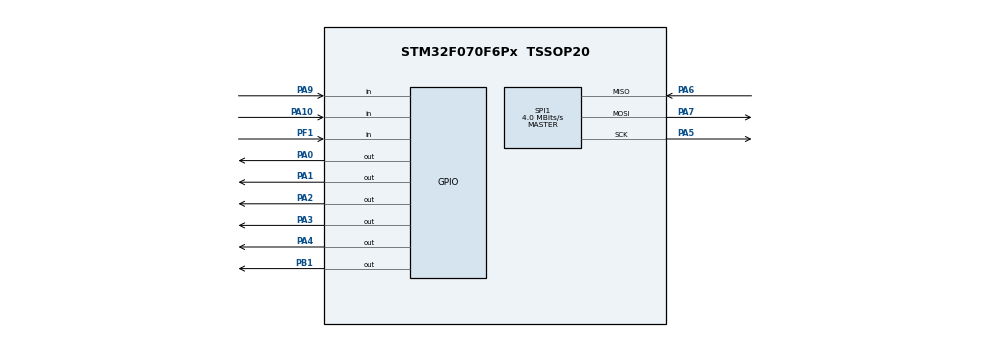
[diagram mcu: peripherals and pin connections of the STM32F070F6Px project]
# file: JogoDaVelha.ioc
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Mcu.Family=STM32F0
Mcu.Name=STM32F070F6Px
Mcu.Package=TSSOP20
PA0.Signal=GPIO_Output
PA1.Signal=GPIO_Output
PA10.GPIO_PuPd=GPIO_PULLDOWN
PA10.Signal=GPIO_Input
PA13.Mode=Serial_Wire
PA13.Signal=SYS_SWDIO
PA14.Mode=Serial_Wire
PA14.Signal=SYS_SWCLK
PA2.Signal=GPIO_Output
PA3.GPIO_PuPd=GPIO_NOPULL
PA3.Signal=GPIO_Output
PA4.GPIO_PuPd=GPIO_NOPULL
PA4.Signal=GPIO_Output
PA5.Mode=Full_Duplex_Master
PA5.Signal=SPI1_SCK
PA6.Mode=Full_Duplex_Master
PA6.Signal=SPI1_MISO
PA7.Mode=Full_Duplex_Master
PA7.Signal=SPI1_MOSI
PA9.GPIO_PuPd=GPIO_PULLDOWN
PA9.Signal=GPIO_Input
PB1.Signal=GPIO_Output
PF1-OSC_OUT.GPIO_PuPd=GPIO_PULLDOWN
PF1-OSC_OUT.Signal=GPIO_Input
ProjectManager.HeapSize=0x200
ProjectManager.StackSize=0x400
ProjectManager.TargetToolchain=STM32CubeIDE
SPI1.CLKPhase=SPI_PHASE_2EDGE
SPI1.CLKPolarity=SPI_POLARITY_HIGH
SPI1.CalculateBaudRate=4.0 MBits/s
SPI1.DataSize=SPI_DATASIZE_8BIT
SPI1.Direction=SPI_DIRECTION_2LINES
SPI1.Mode=SPI_MODE_MASTER
SPI1.VirtualType=VM_MASTER
board=custom

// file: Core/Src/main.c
/* USER CODE BEGIN Header */
/**
  ******************************************************************************
  * @file           : main.c
  * @brief          : Main program body
  ******************************************************************************
  * @attention
  *
  * Copyright (c) 2022 STMicroelectronics.
  * All rights reserved.
  *
  * This software is licensed under terms that can be found in the LICENSE file
  * in the root directory of this software component.
  * If no LICENSE file comes with this software, it is provided AS-IS.
  *
  ******************************************************************************
  */
/* USER CODE END Header */
#include "main.h"

/* USER CODE BEGIN Includes */
#include "OledGrph.h"
#include "OledDriver.h"
#include <stdio.h>
#include <math.h>
/* USER CODE END Includes */

SPI_HandleTypeDef hspi1;

void SystemClock_Config(void);
static void MX_GPIO_Init(void);
static void MX_SPI1_Init(void);

int main(void)
{
  /* USER CODE BEGIN 1 */
	// reverses a string 'str' of length 'len'
	void reverse(char *str, int len)
	{
		int i=0, j=len-1, temp;
		while (i<j)
		{
			temp = str[i];
			str[i] = str[j];
			str[j] = temp;
			i++; j--;
		}
	}

	 // Converts a given integer x to string str[].  d is the number
	 // of digits required in output. If d is more than the number
	 // of digits in x, then 0s are added at the beginning.
	int intToStr(int x, char str[], int d)
	{
		int i = 0;
		while (x)
		{
			str[i++] = (x%10) + '0';
			x = x/10;
		}

		// If number of digits required is more, then
		// add 0s at the beginning
		while (i < d)
			str[i++] = '0';

		reverse(str, i);
		str[i] = '\0';
		return i;
	}

  /* USER CODE END 1 */

  /* MCU Configuration--------------------------------------------------------*/

  /* Reset of all peripherals, Initializes the Flash interface and the Systick. */
  HAL_Init();

  /* Configure the system clock */
  SystemClock_Config();

  /* Initialize all configured peripherals */
  MX_GPIO_Init();
  MX_SPI1_Init();
  /* USER CODE BEGIN 2 */
  	float PX = 0;
	float PO = 0;
	int turn = 1; // Turn 1 representa vez do PX = X | Turn 2 representa vez do PO = O

	char board[3][3];

	void renderBoard(){
		for(int i=0; i < 3; i++){
			OledSetCursor(2,i+1);
			for(int j=0; j < 3; j++){
				if(board[i][j] == ' ' && i != 2) OledPutChar('_');
				else if(board[i][j] == ' ' && i == 2) OledPutChar(' ');
				else OledPutChar(board[i][j]);

				if(j != 2) OledPutString("|");
			}
		}
	}

	void renderScoreBoard(){
		// Placar Inicial
		OledSetCursor(8, 0);
		OledPutChar('|');
		OledSetCursor(8, 1);
		OledPutChar('|');
		OledSetCursor(8, 2);
		OledPutChar('|');
		OledSetCursor(8, 3);
		OledPutChar('|');

		OledSetCursor(10, 0);
		char text[5] = {' ','P','X',':'};
		char number[1];

		if(turn == 1){
			text[0] = '>';
		}
		intToStr(PX, number, 1);
		text[4] = number[0];
		OledPutString(text);

		OledSetCursor(10, 2);
		char text2[5] = {' ','P','O',':'};
		char number2[1];
		if(turn == 2){
			text2[0] = '>';
		}
		intToStr(PO, number2, 1);
		text2[4] = number2[0];
		OledPutString(text2);
	}

	void startGame(){
		// Placar
		renderScoreBoard();

		// Tabuleiro inicial
		for(int i=0; i < 3; i++){
			for(int j=0; j < 3; j++){
				board[i][j] = ' ';
			}
		}
		renderBoard();
	}

	void mensagemVencedor(char v) {
		OledClear();

		if(v != ' '){
			char text[11] = {"P  VENCEU!!"};
			OledSetCursor(3, 1);
			text[1] = v;
			OledPutString(text);
			HAL_Delay(3000);
		}else{
			char text[8] = {"EMPATE!!"};
			OledSetCursor(5, 1);
			OledPutString(text);
			HAL_Delay(3000);
		}

		OledClear();
	}

	void verificarVitoria(){
		for(int i=0; i<3; i++){
			if(board[i][0] == board[i][1] && board[i][1] == board[i][2] && board[i][0] != ' '){
				if(board[i][0] == 'X'){
					PX++;
				}else{
					PO++;
				}
				mensagemVencedor(board[i][0]);
				startGame();
			}else if(board[0][i] == board[1][i] && board[1][i] == board[2][i] && board[0][i] != ' '){
				if(board[0][i] == 'X'){
					PX++;
				}else{
					PO++;
				}
				mensagemVencedor(board[0][i]);
				startGame();
			}else if(board[0][0] == board[1][1] && board[1][1] == board[2][2] && board[0][0] != ' '){
				if(board[0][0] == 'X'){
					PX++;
				}else{
					PO++;
				}
				mensagemVencedor(board[0][0]);
				startGame();
			}else if(board[0][2] == board[1][1] && board[1][1] == board[2][0] && board[0][2] != ' '){
				if(board[0][2] == 'X'){
					PX++;
				}else{
					PO++;
				}
				mensagemVencedor(board[0][2]);
				startGame();
			}
		}

		int aux = 0;
		for(int i=0; i<3; i++){
			for(int j=0; j<3; j++){
				if(board[i][j] != ' '){
					aux++;
				}
			}
		}

		if(aux == 9){
			mensagemVencedor(' ');
			startGame();
		}
	}
  /* USER CODE END 2 */

  /* Infinite loop */
  /* USER CODE BEGIN WHILE */
  OledInit(); // Inicializa o oLed
  OledClear(); //- Apaga todos os dados  do oLed
  startGame();
  while (1)
  {
	  for (int i = 0; i < 3; i++) {
		// Reseta todos os pinos da linha do teclado
		HAL_GPIO_WritePin(GPIOA, GPIO_PIN_3, GPIO_PIN_RESET);
		HAL_GPIO_WritePin(GPIOA, GPIO_PIN_4, GPIO_PIN_RESET);
		HAL_GPIO_WritePin(GPIOB, GPIO_PIN_1, GPIO_PIN_RESET);

		// Define a linha que estamos realizando a varredura
		int row = i;
		if (row == 0) HAL_GPIO_WritePin(GPIOA, GPIO_PIN_3, GPIO_PIN_SET);
		else if (row == 1) HAL_GPIO_WritePin(GPIOA, GPIO_PIN_4, GPIO_PIN_SET);
		else if (row == 2) HAL_GPIO_WritePin(GPIOB, GPIO_PIN_1, GPIO_PIN_SET);

		// Define a coluna pressionada no teclado
		int col = -1;
		if (HAL_GPIO_ReadPin(GPIOA, GPIO_PIN_9) == 1) col = 0;
		else if (HAL_GPIO_ReadPin(GPIOA, GPIO_PIN_10) == 1) col = 1;
		else if (HAL_GPIO_ReadPin(GPIOF, GPIO_PIN_1) == 1) col = 2;

		if(col != -1){
			if(turn == 1 && board[row][col] == ' '){
				board[row][col] = 'X';
				turn = 2;
			}
			else if(board[row][col] == ' '){
				board[row][col] = 'O';
				turn = 1;
			}
			renderBoard();
			renderScoreBoard();
			verificarVitoria();
		}
	  }
    /* USER CODE END WHILE */

  }
}

void SystemClock_Config(void)
{
  RCC_OscInitTypeDef RCC_OscInitStruct = {0};
  RCC_ClkInitTypeDef RCC_ClkInitStruct = {0};

  /** Initializes the RCC Oscillators according to the specified parameters
  * in the RCC_OscInitTypeDef structure.
  */
  RCC_OscInitStruct.OscillatorType = RCC_OSCILLATORTYPE_HSI;
  RCC_OscInitStruct.HSIState = RCC_HSI_ON;
  RCC_OscInitStruct.HSICalibrationValue = RCC_HSICALIBRATION_DEFAULT;
  RCC_OscInitStruct.PLL.PLLState = RCC_PLL_NONE;
  if (HAL_RCC_OscConfig(&RCC_OscInitStruct) != HAL_OK)
  {
    Error_Handler();
  }

  /** Initializes the CPU, AHB and APB buses clocks
  */
  RCC_ClkInitStruct.ClockType = RCC_CLOCKTYPE_HCLK|RCC_CLOCKTYPE_SYSCLK
                              |RCC_CLOCKTYPE_PCLK1;
  RCC_ClkInitStruct.SYSCLKSource = RCC_SYSCLKSOURCE_HSI;
  RCC_ClkInitStruct.AHBCLKDivider = RCC_SYSCLK_DIV1;
  RCC_ClkInitStruct.APB1CLKDivider = RCC_HCLK_DIV1;

  if (HAL_RCC_ClockConfig(&RCC_ClkInitStruct, FLASH_LATENCY_0) != HAL_OK)
  {
    Error_Handler();
  }
}

static void MX_SPI1_Init(void)
{

  /* SPI1 parameter configuration*/
  hspi1.Instance = SPI1;
  hspi1.Init.Mode = SPI_MODE_MASTER;
  hspi1.Init.Direction = SPI_DIRECTION_2LINES;
  hspi1.Init.DataSize = SPI_DATASIZE_8BIT;
  hspi1.Init.CLKPolarity = SPI_POLARITY_HIGH;
  hspi1.Init.CLKPhase = SPI_PHASE_2EDGE;
  hspi1.Init.NSS = SPI_NSS_SOFT;
  hspi1.Init.BaudRatePrescaler = SPI_BAUDRATEPRESCALER_2;
  hspi1.Init.FirstBit = SPI_FIRSTBIT_MSB;
  hspi1.Init.TIMode = SPI_TIMODE_DISABLE;
  hspi1.Init.CRCCalculation = SPI_CRCCALCULATION_DISABLE;
  hspi1.Init.CRCPolynomial = 7;
  hspi1.Init.CRCLength = SPI_CRC_LENGTH_DATASIZE;
  hspi1.Init.NSSPMode = SPI_NSS_PULSE_DISABLE;
  if (HAL_SPI_Init(&hspi1) != HAL_OK)
  {
    Error_Handler();
  }

}

static void MX_GPIO_Init(void)
{
  GPIO_InitTypeDef GPIO_InitStruct = {0};

  /* GPIO Ports Clock Enable */
  __HAL_RCC_GPIOF_CLK_ENABLE();
  __HAL_RCC_GPIOA_CLK_ENABLE();
  __HAL_RCC_GPIOB_CLK_ENABLE();

  /*Configure GPIO pin Output Level */
  HAL_GPIO_WritePin(GPIOA, GPIO_PIN_0|GPIO_PIN_1|GPIO_PIN_2|GPIO_PIN_3
                          |GPIO_PIN_4, GPIO_PIN_RESET);

  /*Configure GPIO pin Output Level */
  HAL_GPIO_WritePin(GPIOB, GPIO_PIN_1, GPIO_PIN_RESET);

  /*Configure GPIO pin : PF1 */
  GPIO_InitStruct.Pin = GPIO_PIN_1;
  GPIO_InitStruct.Mode = GPIO_MODE_INPUT;
  GPIO_InitStruct.Pull = GPIO_PULLDOWN;
  HAL_GPIO_Init(GPIOF, &GPIO_InitStruct);

  /*Configure GPIO pins : PA0 PA1 PA2 PA3
                           PA4 */
  GPIO_InitStruct.Pin = GPIO_PIN_0|GPIO_PIN_1|GPIO_PIN_2|GPIO_PIN_3
                          |GPIO_PIN_4;
  GPIO_InitStruct.Mode = GPIO_MODE_OUTPUT_PP;
  GPIO_InitStruct.Pull = GPIO_NOPULL;
  GPIO_InitStruct.Speed = GPIO_SPEED_FREQ_LOW;
  HAL_GPIO_Init(GPIOA, &GPIO_InitStruct);

  /*Configure GPIO pin : PB1 */
  GPIO_InitStruct.Pin = GPIO_PIN_1;
  GPIO_InitStruct.Mode = GPIO_MODE_OUTPUT_PP;
  GPIO_InitStruct.Pull = GPIO_NOPULL;
  GPIO_InitStruct.Speed = GPIO_SPEED_FREQ_LOW;
  HAL_GPIO_Init(GPIOB, &GPIO_InitStruct);

  /*Configure GPIO pins : PA9 PA10 */
  GPIO_InitStruct.Pin = GPIO_PIN_9|GPIO_PIN_10;
  GPIO_InitStruct.Mode = GPIO_MODE_INPUT;
  GPIO_InitStruct.Pull = GPIO_PULLDOWN;
  HAL_GPIO_Init(GPIOA, &GPIO_InitStruct);

}

void Error_Handler(void)
{
  __disable_irq();
  while (1)
  {
  }
}
